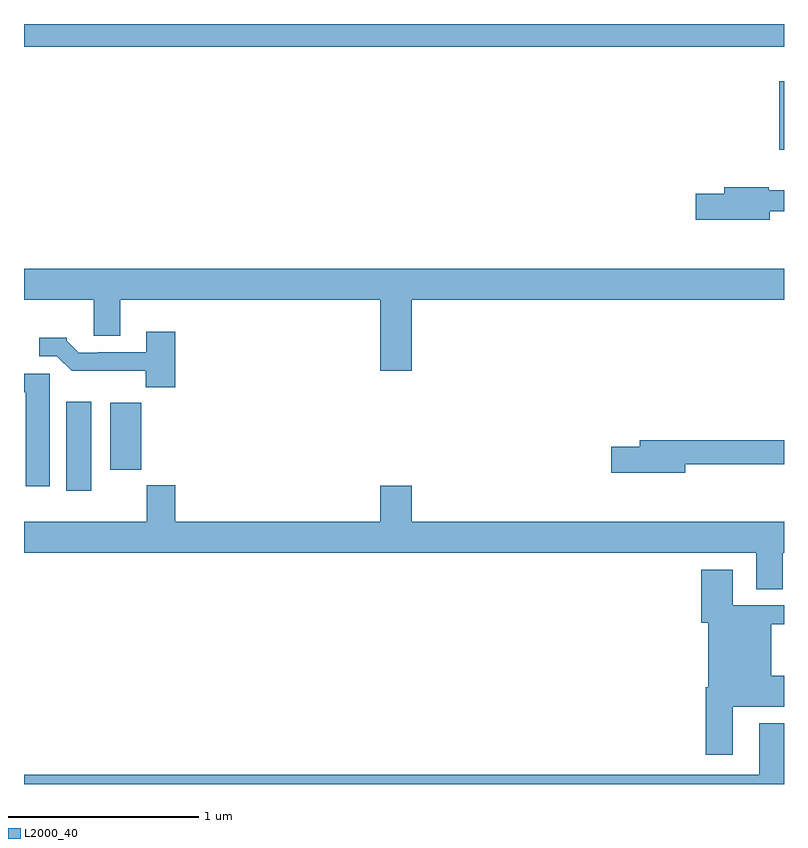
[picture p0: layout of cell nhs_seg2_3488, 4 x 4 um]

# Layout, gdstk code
import gdstk
lib = gdstk.Library(unit=1e-6, precision=1e-09)
def R(c, l, rs):  # rectangles x0, y0, x1, y1
    for r in rs: c.add(gdstk.rectangle(r[:2], r[2:], *l))
def P(c, l, *ps):  # polygons
    for p in ps: c.add(gdstk.Polygon(p, *l))
L2000_40 = (2000, 40)

nhs_seg2_3488 = lib.new_cell('nhs_seg2_3488')
R(nhs_seg2_3488, L2000_40, [(295.223,601.344,295.354,601.813), (298.976,603.138,299,603.499), (295,603.68,299,603.8)])
P(nhs_seg2_3488, L2000_40, [(298.924,602.814),(299,602.814),(299,602.924),(298.92,602.924),(298.92,602.942),(298.685,602.942),(298.685,602.906),(298.536,602.906),(298.536,602.771),(298.924,602.771)],
  [(297.04,602.348),(299,602.348),(299,602.512),(295,602.512),(295,602.348),(295.367,602.348),(295.367,602.158),(295.507,602.158),(295.507,602.348),(296.876,602.348),(296.876,601.974),(297.04,601.974)],
  [(295.796,602.179),(295.643,602.179),(295.643,602.073),(295.387,602.073),(295.387,602.07),(295.288,602.07),(295.224,602.134),(295.224,602.149),(295.08,602.149),(295.08,602.052),(295.173,602.052),(295.252,601.974),(295.641,601.974),(295.641,601.889),(295.796,601.889)],
  [(295.135,601.959),(295,601.959),(295,601.862),(295.01,601.862),(295.01,601.368),(295.135,601.368)],
  [(295.618,601.7),(295.616,601.7),(295.616,601.807),(295.454,601.807),(295.454,601.454),(295.618,601.454)],
  [(298.48,601.482),(299,601.482),(299,601.61),(298.241,601.61),(298.241,601.574),(298.092,601.574),(298.092,601.439),(298.48,601.439)],
  [(298.993,601.016),(299,601.016),(299,601.18),(297.04,601.18),(297.04,601.369),(296.876,601.369),(296.876,601.18),(295.796,601.18),(295.796,601.372),(295.645,601.372),(295.645,601.18),(295,601.18),(295,601.016),(298.853,601.016),(298.853,600.826),(298.993,600.826)],
  [(298.729,600.206),(299,600.206),(299,600.37),(298.933,600.37),(298.933,600.64),(299,600.64),(299,600.741),(298.729,600.741),(298.729,600.928),(298.565,600.928),(298.565,600.648),(298.601,600.648),(298.601,600.31),(298.589,600.31),(298.589,599.955),(298.729,599.955)],
  [(299,600.121),(298.871,600.121),(298.871,599.848),(295,599.848),(295,599.8),(299,599.8)])

lib.write_gds('nhs_seg2_3488.gds')
